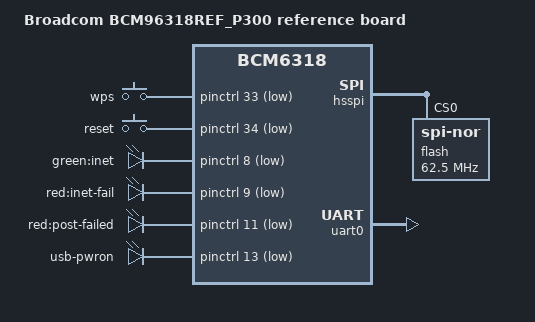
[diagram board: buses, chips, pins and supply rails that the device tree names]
#include "bcm6318.dtsi"

#include <dt-bindings/input/input.h>

/ {
	model = "Broadcom BCM96318REF_P300 reference board";
	compatible = "brcm,bcm96318ref-p300", "brcm,bcm6318";

	chosen {
		bootargs = "rootfstype=squashfs,jffs2 noinitrd console=ttyS0,115200";
		stdout-path = "serial0:115200n8";
	};

	keys {
		compatible = "gpio-keys-polled";
		#address-cells = <1>;
		#size-cells = <0>;
		poll-interval = <20>;

		wps {
			label = "wps";
			gpios = <&pinctrl 33 1>;
			linux,code = <KEY_WPS_BUTTON>;
			debounce-interval = <60>;
		};

		reset {
			label = "reset";
			gpios = <&pinctrl 34 1>;
			linux,code = <KEY_RESTART>;
			debounce-interval = <60>;
		};
	};

	leds {
		compatible = "gpio-leds";

		inet {
			label = "green:inet";
			gpios = <&pinctrl 8 1>;
		};

		inet_fail {
			label = "red:inet-fail";
			gpios = <&pinctrl 9 1>;
		};

		post_failed {
			label = "red:post-failed";
			gpios = <&pinctrl 11 1>;
		};

		usb_pwron {
			label = "usb-pwron";
			gpios = <&pinctrl 13 1>;
			default-state = "on";
		};
	};
};

&hsspi {
	status = "okay";

	flash@0 {
		compatible = "jedec,spi-nor";
		spi-max-frequency = <62500000>;
		spi-tx-bus-width = <2>;
		spi-rx-bus-width = <2>;
		reg = <0>;

		#address-cells = <1>;
		#size-cells = <1>;

		partitions {
			compatible = "brcm,bcm963xx-cfe-nor-partitions";
		};
	};
};

&pinctrl {
	pinctrl-names = "default";
	pinctrl-0 = <&pinctrl_usb_pwron>;
};

&uart0 {
	status = "okay";
};
